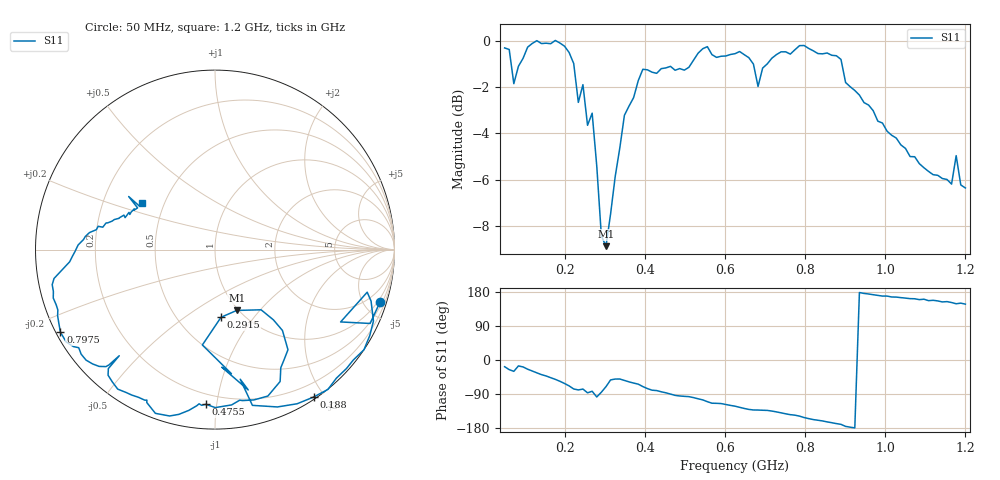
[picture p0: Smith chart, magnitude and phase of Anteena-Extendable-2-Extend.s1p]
# HZ S RI R 50
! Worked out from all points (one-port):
!   101 points, 50 MHz to 1.2 GHz, reference 50 ohm
!   lowest |S11| = -8.9 dB at 303 MHz (marker M1), VSWR 2.12, Z = 49 - j38.2 ohm
!   |S11| at or under -10 dB: nowhere
!   S11 on the Smith chart (normalised r, x): 50 MHz: 0.75, -6.35; 188 MHz: 0.03, -1.87; 291.5 MHz: 0.80, -0.70; 475.5 MHz: 0.14, -0.93; 797.5 MHz: 0.01, -0.25; 1.2 GHz: 0.38, +0.25
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5e7  0.9193 -0.2928
7.3e7  0.6999 -0.4031
8.45e7  0.848 -0.2373
1.305e8  0.83 -0.558
1.88e8  0.5508 -0.8209
1.995e8  0.4578 -0.8588
2.225e8  0.2084 -0.8678
2.34e8  0.1406 -0.7222
2.455e8  0.1851 -0.7819
2.685e8  0.0914 -0.6913
2.8e8  -0.0704 -0.5314
2.915e8  0.0335 -0.3771
3.03e8  0.1209 -0.3389
3.375e8  0.3757 -0.4503
3.95e8  0.2947 -0.8159
4.755e8  -0.0506 -0.8619
4.87e8  -0.0744 -0.8674
5.445e8  -0.2529 -0.927
6.25e8  -0.4947 -0.7964
6.595e8  -0.5958 -0.6998
6.825e8  -0.5335 -0.5913
7.17e8  -0.6456 -0.6508
7.745e8  -0.7886 -0.5403
7.975e8  -0.8612 -0.4602
8.78e8  -0.9071 -0.1955
9.125e8  -0.7946 -0.0375
1.062e9  -0.5342 0.1745
1.2e9  -0.4051 0.2586
